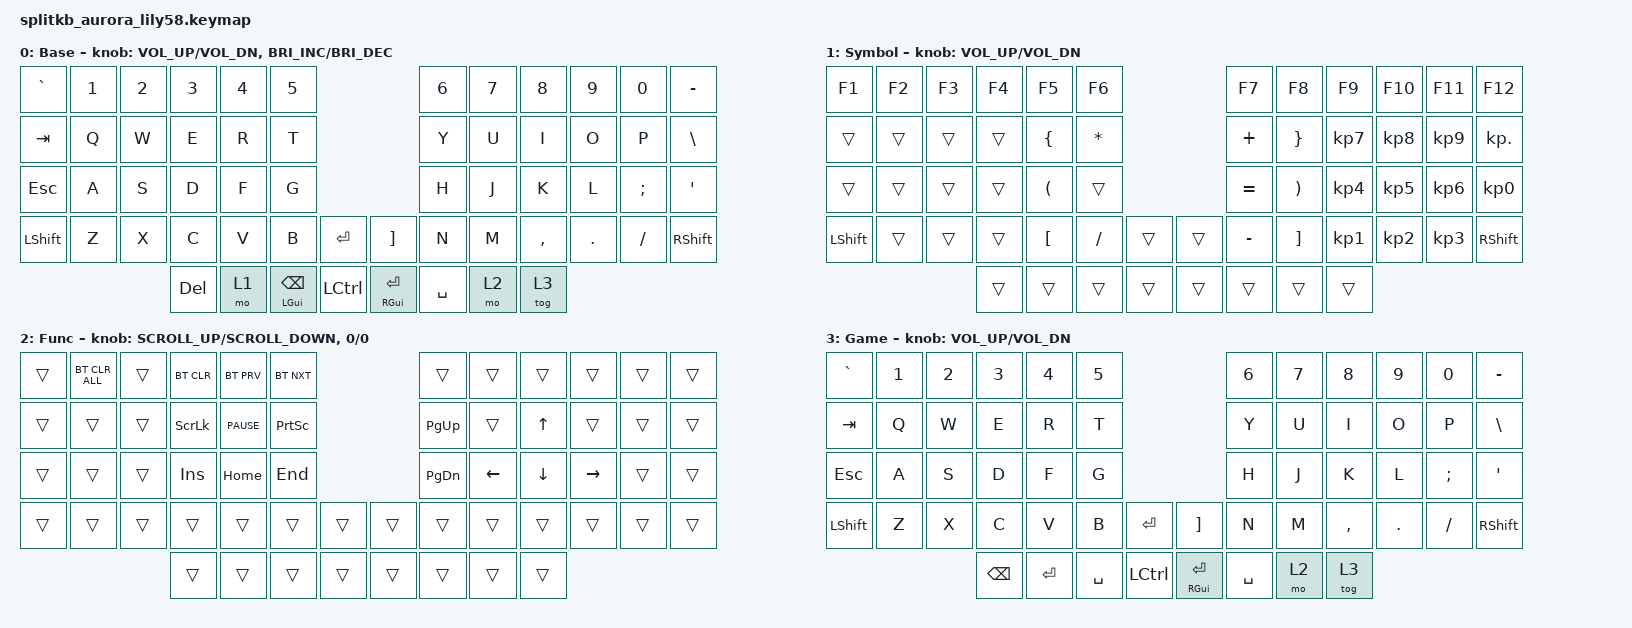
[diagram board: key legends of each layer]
/*
 * Copyright (c) 2020 The ZMK Contributors
 *
 * SPDX-License-Identifier: MIT
 */

#include <behaviors.dtsi>
#include <dt-bindings/zmk/bt.h>
#include <dt-bindings/zmk/keys.h>

&mt { quick-tap-ms = <150>; };

/ {
    /* behaviors { */
    /*     td_mt: tap_dance_mod_tap { */
    /*         compatible = "zmk,behavior-tap-dance"; */
    /*         bindings = <&mt LALT BACKSPACE>, <&kp BACKSPACE>; */
    /*     }; */
    /* }; */
    keymap {
        compatible = "zmk,keymap";

        default_layer {
            display-name = "Base";
            bindings = <
&kp GRAVE  &kp N1  &kp N2  &kp N3      &kp N4  &kp N5                                         &kp N6     &kp N7  &kp N8     &kp N9   &kp N0    &kp MINUS
&kp TAB    &kp Q   &kp W   &kp E       &kp R   &kp T                                          &kp Y      &kp U   &kp I      &kp O    &kp P     &kp BACKSLASH
&kp ESC    &kp A   &kp S   &kp D       &kp F   &kp G                                          &kp H      &kp J   &kp K      &kp L    &kp SEMI  &kp SQT
&kp LSHFT  &kp Z   &kp X   &kp C       &kp V   &kp B                   &kp ENTER    &kp RBKT           &kp N      &kp M   &kp COMMA  &kp DOT  &kp FSLH  &kp RSHFT
                           &kp DELETE  &mo 1   &mt LEFT_GUI BACKSPACE  &kp LCTRL    &mt RIGHT_GUI RET  &kp SPACE  &mo 2   &tog 3
            >;

            sensor-bindings =
                <&inc_dec_kp C_VOL_UP C_VOL_DN>,
                <&inc_dec_kp C_BRIGHTNESS_INC C_BRIGHTNESS_DEC>;
        };

        Symbol {
            display-name = "Symbol";
            bindings = <
&kp F1          &kp F2  &kp F3  &kp F4  &kp F5                &kp F6                          &kp F7     &kp F8                 &kp F9           &kp F10          &kp F11          &kp F12
&trans          &trans  &trans  &trans  &kp LEFT_BRACE        &kp ASTERISK                    &kp PLUS   &kp RIGHT_BRACE        &kp KP_NUMBER_7  &kp KP_NUMBER_8  &kp KP_NUMBER_9  &kp KP_DOT
&trans          &trans  &trans  &trans  &kp LEFT_PARENTHESIS  &trans                          &kp EQUAL  &kp RIGHT_PARENTHESIS  &kp KP_NUMBER_4  &kp KP_NUMBER_5  &kp KP_NUMBER_6  &kp KP_NUMBER_0
&kp LEFT_SHIFT  &trans  &trans  &trans  &kp LEFT_BRACKET      &kp SLASH     &trans    &trans  &kp MINUS  &kp RIGHT_BRACKET      &kp KP_NUMBER_1  &kp KP_NUMBER_2  &kp KP_N3        &kp RIGHT_SHIFT
                                &trans  &trans                &trans        &trans    &trans  &trans     &trans                 &trans
            >;

            sensor-bindings = <&inc_dec_kp C_VOL_UP C_VOL_DN>;
        };

        Func {
            display-name = "Func";
            bindings = <
&trans  &bt BT_CLR_ALL  &trans  &bt BT_CLR      &bt BT_PRV   &bt BT_NXT                         &trans         &trans    &trans        &trans           &trans  &trans
&trans  &trans          &trans  &kp SCROLLLOCK  &kp C_PAUSE  &kp PRINTSCREEN                    &kp PAGE_UP    &trans    &kp UP_ARROW  &trans           &trans  &trans
&trans  &trans          &trans  &kp INSERT      &kp HOME     &kp END                            &kp PAGE_DOWN  &kp LEFT  &kp DOWN      &kp RIGHT_ARROW  &trans  &trans
&trans  &trans          &trans  &trans          &trans       &trans           &trans    &trans  &trans         &trans    &trans        &trans           &trans  &trans
                                &trans          &trans       &trans           &trans    &trans  &trans         &trans    &trans
            >;

            sensor-bindings =
                <&inc_dec_kp K_SCROLL_UP K_SCROLL_DOWN>,
                <&inc_dec_kp 0 0>;
        };

        Game {
            display-name = "Game";
            bindings = <
&kp GRAVE  &kp N1  &kp N2  &kp N3         &kp N4     &kp N5                                     &kp N6     &kp N7  &kp N8     &kp N9   &kp N0    &kp MINUS
&kp TAB    &kp Q   &kp W   &kp E          &kp R      &kp T                                      &kp Y      &kp U   &kp I      &kp O    &kp P     &kp BACKSLASH
&kp ESC    &kp A   &kp S   &kp D          &kp F      &kp G                                      &kp H      &kp J   &kp K      &kp L    &kp SEMI  &kp SQT
&kp LSHFT  &kp Z   &kp X   &kp C          &kp V      &kp B      &kp ENTER    &kp RBKT           &kp N      &kp M   &kp COMMA  &kp DOT  &kp FSLH  &kp RSHFT
                           &kp BACKSPACE  &kp ENTER  &kp SPACE  &kp LCTRL    &mt RIGHT_GUI RET  &kp SPACE  &mo 2   &tog 3
            >;

            sensor-bindings = <&inc_dec_kp C_VOL_UP C_VOL_DN>;
        };
    };
};
